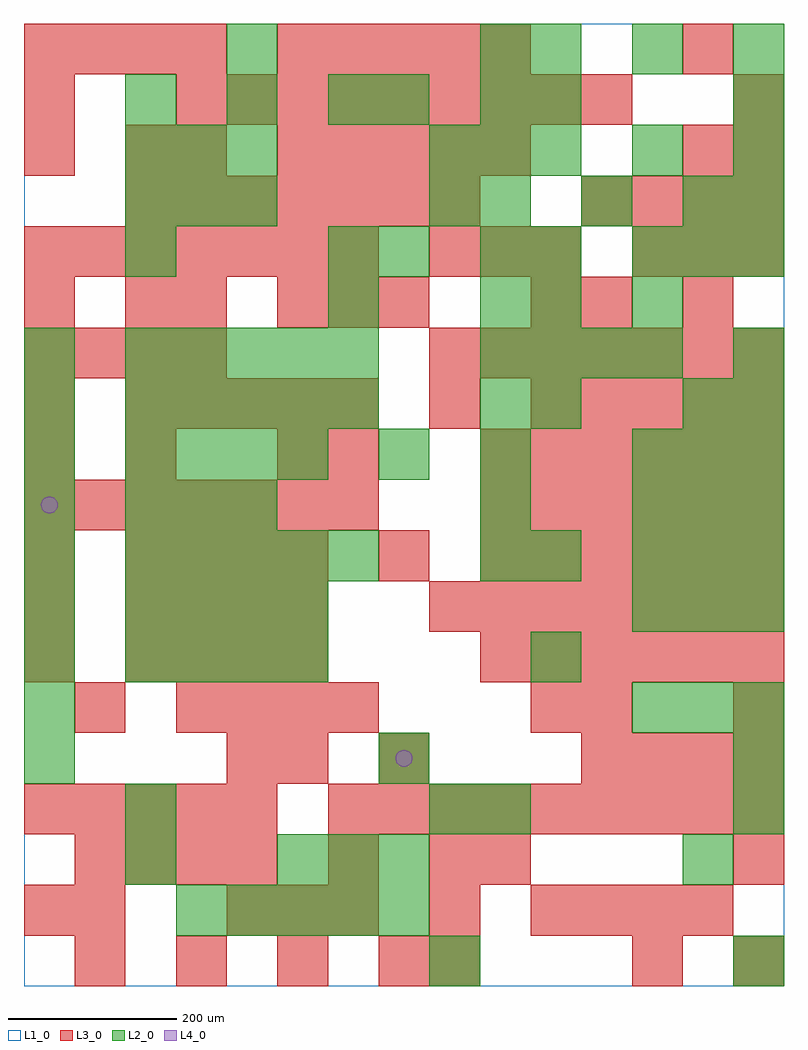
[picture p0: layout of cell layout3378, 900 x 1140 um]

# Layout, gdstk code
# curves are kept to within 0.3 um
import gdstk
lib = gdstk.Library(unit=1e-6, precision=1e-09)
def R(c, l, rs):  # rectangles x0, y0, x1, y1
    for r in rs: c.add(gdstk.rectangle(r[:2], r[2:], *l))
def A(c, l, x, y, w, h, nx, ny, dx, dy):  # array of equal rectangles
    R(c, l, [(x+i*dx, y+j*dy, x+i*dx+w, y+j*dy+h) for i in range(nx) for j in range(ny)])
def P(c, l, *ps):  # polygons
    for p in ps: c.add(gdstk.Polygon(p, *l))
L1_0 = (1, 0)
L2_0 = (2, 0)
L3_0 = (3, 0)
L4_0 = (4, 0)

layout3378 = lib.new_cell('layout3378')
R(layout3378, L1_0, [(0,0,900,1140)])
A(layout3378, L2_0, 180, 60, 60, 60, 5, 1, 60, 0)
A(layout3378, L2_0, 300, 120, 60, 60, 3, 1, 60, 0)
A(layout3378, L2_0, 0, 240, 60, 60, 3, 1, 420, 0)
A(layout3378, L2_0, 0, 300, 60, 60, 1, 8, 0, 60)
A(layout3378, L2_0, 720, 300, 60, 60, 3, 2, 60, 120)
A(layout3378, L2_0, 120, 360, 60, 60, 4, 2, 60, 60)
A(layout3378, L2_0, 120, 480, 60, 60, 5, 2, 60, 180)
A(layout3378, L2_0, 540, 480, 60, 60, 1, 4, 0, 60)
A(layout3378, L2_0, 720, 480, 60, 60, 3, 3, 60, 60)
A(layout3378, L2_0, 120, 540, 60, 60, 3, 2, 60, 360)
A(layout3378, L2_0, 120, 600, 60, 60, 4, 1, 60, 0)
A(layout3378, L2_0, 120, 720, 60, 60, 5, 1, 60, 0)
A(layout3378, L2_0, 540, 720, 60, 60, 4, 1, 60, 0)
A(layout3378, L2_0, 720, 840, 60, 60, 3, 1, 60, 0)
A(layout3378, L2_0, 540, 900, 60, 60, 3, 1, 120, 0)
A(layout3378, L2_0, 840, 900, 60, 60, 1, 3, 0, 60)
A(layout3378, L2_0, 120, 960, 60, 60, 3, 1, 60, 0)
A(layout3378, L2_0, 480, 960, 60, 60, 3, 1, 60, 0)
A(layout3378, L2_0, 120, 1020, 60, 60, 3, 1, 120, 0)
A(layout3378, L2_0, 600, 1080, 60, 60, 3, 1, 120, 0)
R(layout3378, L2_0, [(480,0,540,60), (840,0,900,60), (120,120,180,180), (780,120,840,180), (120,180,180,240), (480,180,540,240), (540,180,600,240), (840,180,900,240), (600,360,660,420), (600,480,660,540), (420,600,480,660), (600,660,660,720), (780,660,840,720), (840,660,900,720), (840,720,900,780), (360,780,420,840), (540,780,600,840), (600,780,660,840), (720,780,780,840), (120,840,180,900), (360,840,420,900), (420,840,480,900), (540,840,600,900), (600,840,660,900), (480,900,540,960), (720,960,780,1020), (420,1020,480,1080), (540,1020,600,1080), (600,1020,660,1080), (240,1080,300,1140), (540,1080,600,1140)])
A(layout3378, L3_0, 60, 0, 60, 60, 4, 1, 120, 0)
A(layout3378, L3_0, 480, 0, 60, 60, 1, 3, 0, 60)
A(layout3378, L3_0, 240, 60, 60, 60, 3, 1, 60, 0)
A(layout3378, L3_0, 600, 60, 60, 60, 4, 1, 60, 0)
A(layout3378, L3_0, 60, 120, 60, 60, 4, 1, 60, 0)
A(layout3378, L3_0, 0, 180, 60, 60, 5, 1, 60, 0)
A(layout3378, L3_0, 360, 180, 60, 60, 9, 1, 60, 0)
A(layout3378, L3_0, 660, 240, 60, 60, 4, 2, 60, 660)
A(layout3378, L3_0, 180, 300, 60, 60, 4, 1, 60, 0)
A(layout3378, L3_0, 0, 360, 60, 60, 1, 3, 0, 60)
A(layout3378, L3_0, 120, 360, 60, 60, 4, 3, 60, 60)
A(layout3378, L3_0, 540, 360, 60, 60, 6, 2, 60, 120)
A(layout3378, L3_0, 480, 420, 60, 60, 7, 2, 60, 300)
A(layout3378, L3_0, 0, 540, 60, 60, 7, 2, 60, 300)
A(layout3378, L3_0, 540, 540, 60, 60, 6, 2, 60, 60)
A(layout3378, L3_0, 120, 600, 60, 60, 1, 3, 0, 180)
A(layout3378, L3_0, 120, 660, 60, 60, 5, 1, 60, 0)
A(layout3378, L3_0, 600, 660, 60, 60, 5, 1, 60, 0)
A(layout3378, L3_0, 0, 720, 60, 60, 4, 2, 60, 360)
A(layout3378, L3_0, 300, 780, 60, 60, 3, 1, 60, 0)
A(layout3378, L3_0, 480, 840, 60, 60, 3, 1, 60, 0)
A(layout3378, L3_0, 720, 840, 60, 60, 3, 1, 60, 0)
A(layout3378, L3_0, 120, 900, 60, 60, 7, 1, 60, 0)
A(layout3378, L3_0, 300, 960, 60, 60, 5, 2, 60, 120)
A(layout3378, L3_0, 180, 1020, 60, 60, 9, 1, 60, 0)
R(layout3378, L3_0, [(720,0,780,60), (840,0,900,60), (0,60,60,120), (60,60,120,120), (360,120,420,180), (540,120,600,180), (840,120,900,180), (240,240,300,300), (300,240,360,300), (420,240,480,300), (60,300,120,360), (600,300,660,360), (660,300,720,360), (840,300,900,360), (420,480,480,540), (0,600,60,660), (300,600,360,660), (360,600,420,660), (0,660,60,720), (480,660,540,720), (0,780,60,840), (180,780,240,840), (600,780,660,840), (660,780,720,840), (780,780,840,840), (0,960,60,1020), (180,960,240,1020), (780,960,840,1020), (840,960,900,1020), (0,1020,60,1080), (840,1020,900,1080), (780,1080,840,1140)])
P(layout3378, L4_0, [(40,570),(39.239,573.827),(37.071,577.071),(33.827,579.239),(30,580),(26.173,579.239),(22.929,577.071),(20.761,573.827),(20,570),(20.761,566.173),(22.929,562.929),(26.173,560.761),(30,560),(33.827,560.761),(37.071,562.929),(39.239,566.173)],
  [(460,270),(459.239,273.827),(457.071,277.071),(453.827,279.239),(450,280),(446.173,279.239),(442.929,277.071),(440.761,273.827),(440,270),(440.761,266.173),(442.929,262.929),(446.173,260.761),(450,260),(453.827,260.761),(457.071,262.929),(459.239,266.173)])

lib.write_gds('layout3378.gds')
